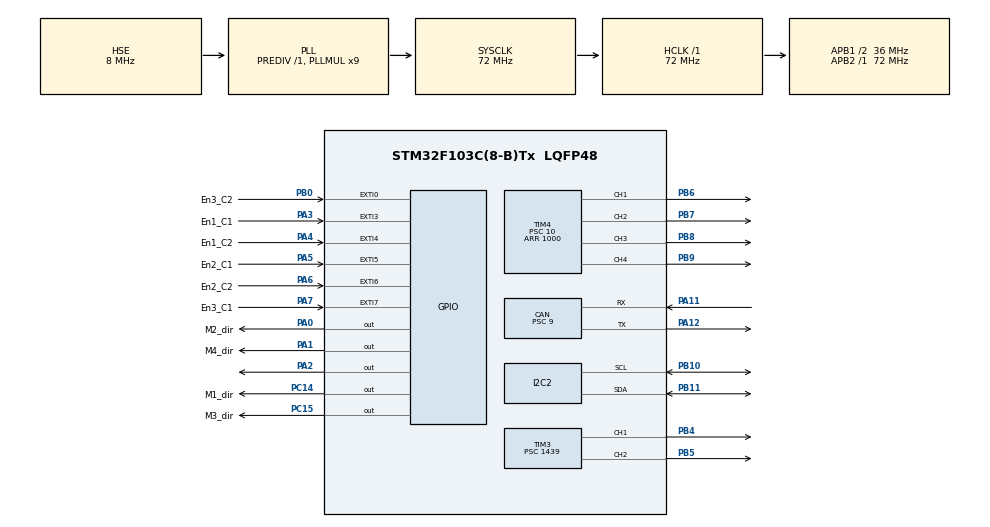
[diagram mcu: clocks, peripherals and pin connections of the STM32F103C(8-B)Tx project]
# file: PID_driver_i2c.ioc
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CAN.BS1=CAN_BS1_2TQ
CAN.CalculateBaudRate=1000000
CAN.CalculateTimeBit=1000
CAN.CalculateTimeQuantum=250.0
CAN.Prescaler=9
Mcu.Family=STM32F1
Mcu.Name=STM32F103C(8-B)Tx
Mcu.Package=LQFP48
NVIC.CAN1_RX1_IRQn=true\:0\:0\:false\:false\:true\:true\:true\:true
NVIC.EXTI0_IRQn=true\:0\:0\:false\:false\:true\:true\:true\:true
NVIC.EXTI3_IRQn=true\:0\:0\:false\:false\:true\:true\:true\:true
NVIC.EXTI4_IRQn=true\:0\:0\:false\:false\:true\:true\:true\:true
NVIC.EXTI9_5_IRQn=true\:0\:0\:false\:false\:true\:true\:true\:true
NVIC.PriorityGroup=NVIC_PRIORITYGROUP_4
NVIC.TIM2_IRQn=true\:0\:0\:false\:false\:true\:true\:true\:true
PA0-WKUP.GPIO_Label=M2_dir
PA0-WKUP.Signal=GPIO_Output
PA1.GPIO_Label=M4_dir
PA1.Signal=GPIO_Output
PA11.Mode=CAN_Activate
PA11.Signal=CAN_RX
PA12.Mode=CAN_Activate
PA12.Signal=CAN_TX
PA13.Mode=Serial_Wire
PA13.Signal=SYS_JTMS-SWDIO
PA14.Mode=Serial_Wire
PA14.Signal=SYS_JTCK-SWCLK
PA2.Signal=GPIO_Output
PA3.GPIO_Label=En1_C1
PA3.GPIO_ModeDefaultEXTI=GPIO_MODE_IT_RISING_FALLING
PA3.Signal=GPXTI3
PA4.GPIO_Label=En1_C2
PA4.GPIO_ModeDefaultEXTI=GPIO_MODE_IT_RISING_FALLING
PA4.Signal=GPXTI4
PA5.GPIO_Label=En2_C1
PA5.GPIO_ModeDefaultEXTI=GPIO_MODE_IT_RISING_FALLING
PA5.Signal=GPXTI5
PA6.GPIO_Label=En2_C2
PA6.GPIO_ModeDefaultEXTI=GPIO_MODE_IT_RISING_FALLING
PA6.Signal=GPXTI6
PA7.GPIO_Label=En3_C1
PA7.GPIO_ModeDefaultEXTI=GPIO_MODE_IT_RISING_FALLING
PA7.Signal=GPXTI7
PB0.GPIO_Label=En3_C2
PB0.GPIO_ModeDefaultEXTI=GPIO_MODE_IT_RISING_FALLING
PB0.Signal=GPXTI0
PB10.Mode=I2C
PB10.Signal=I2C2_SCL
PB11.Mode=I2C
PB11.Signal=I2C2_SDA
PB4.Signal=S_TIM3_CH1
PB5.Signal=S_TIM3_CH2
PB6.Signal=S_TIM4_CH1
PB7.Signal=S_TIM4_CH2
PB8.Signal=S_TIM4_CH3
PB9.Signal=S_TIM4_CH4
PC14-OSC32_IN.GPIO_Label=M1_dir
PC14-OSC32_IN.Signal=GPIO_Output
PC15-OSC32_OUT.GPIO_Label=M3_dir
PC15-OSC32_OUT.Signal=GPIO_Output
PD0-OSC_IN.Mode=HSE-External-Oscillator
PD0-OSC_IN.Signal=RCC_OSC_IN
PD1-OSC_OUT.Mode=HSE-External-Oscillator
PD1-OSC_OUT.Signal=RCC_OSC_OUT
ProjectManager.HeapSize=0x200
ProjectManager.StackSize=0x400
ProjectManager.TargetToolchain=STM32CubeIDE
RCC.AHBFreq_Value=72000000
RCC.APB1CLKDivider=RCC_HCLK_DIV2
RCC.APB1Freq_Value=36000000
RCC.APB1TimFreq_Value=72000000
RCC.APB2Freq_Value=72000000
RCC.APB2TimFreq_Value=72000000
RCC.HCLKFreq_Value=72000000
RCC.PLLMUL=RCC_PLL_MUL9
RCC.PLLSourceVirtual=RCC_PLLSOURCE_HSE
RCC.SYSCLKFreq_VALUE=72000000
RCC.SYSCLKSource=RCC_SYSCLKSOURCE_PLLCLK
RCC.USBFreq_Value=72000000
SH.S_TIM3_CH1.0=TIM3_CH1,PWM Generation1 CH1
SH.S_TIM3_CH2.0=TIM3_CH2,PWM Generation2 CH2
SH.S_TIM4_CH1.0=TIM4_CH1,PWM Generation1 CH1
SH.S_TIM4_CH2.0=TIM4_CH2,PWM Generation2 CH2
SH.S_TIM4_CH3.0=TIM4_CH3,PWM Generation3 CH3
SH.S_TIM4_CH4.0=TIM4_CH4,PWM Generation4 CH4
TIM1.AutoReloadPreload=TIM_AUTORELOAD_PRELOAD_ENABLE
TIM1.Period=1000
TIM1.Prescaler=10
TIM2.AutoReloadPreload=TIM_AUTORELOAD_PRELOAD_ENABLE
TIM2.Channel-PWM\ Generation1\ CH1=TIM_CHANNEL_1
TIM2.Channel-PWM\ Generation2\ CH2=TIM_CHANNEL_2
TIM2.Period=999
TIM2.Prescaler=719
TIM3.Channel-PWM\ Generation1\ CH1=TIM_CHANNEL_1
TIM3.Channel-PWM\ Generation2\ CH2=TIM_CHANNEL_2
TIM3.Period=999
TIM3.Prescaler=1439
TIM4.AutoReloadPreload=TIM_AUTORELOAD_PRELOAD_ENABLE
TIM4.Channel-PWM\ Generation1\ CH1=TIM_CHANNEL_1
TIM4.Channel-PWM\ Generation2\ CH2=TIM_CHANNEL_2
TIM4.Channel-PWM\ Generation3\ CH3=TIM_CHANNEL_3
TIM4.Channel-PWM\ Generation4\ CH4=TIM_CHANNEL_4
TIM4.Period=1000
TIM4.Prescaler=10
VP_TIM1_VS_ClockSourceINT.Mode=Internal
VP_TIM2_VS_ClockSourceINT.Mode=Internal
VP_TIM3_VS_ClockSourceINT.Mode=Internal
VP_TIM4_VS_ClockSourceINT.Mode=Internal
board=custom

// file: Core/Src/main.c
/* USER CODE BEGIN Header */
/**
  ******************************************************************************
  * @file           : main.c
  * @brief          : Main program body
  ******************************************************************************
  * @attention
  *
  * Copyright (c) 2023 STMicroelectronics.
  * All rights reserved.
  *
  * This software is licensed under terms that can be found in the LICENSE file
  * in the root directory of this software component.
  * If no LICENSE file comes with this software, it is provided AS-IS.
  *
  ******************************************************************************
  */
/* USER CODE END Header */
#include "main.h"
#include "can.h"
#include "i2c.h"
#include "tim.h"
#include "gpio.h"

/* USER CODE BEGIN Includes */
#include "PID.h"
#include "math.h"
#include "pca9685.h"
/* USER CODE END Includes */

/* USER CODE BEGIN PTD */
#define SERVO_COUNT	4
uint8_t data[4] = {0};
uint16_t data_16 = 0;
uint16_t data_r = 0;
uint16_t data_angle = 0;
float speed = 0;
float speed_r = 0;
/* USER CODE END PTD */

/* USER CODE BEGIN PD */
PIDController MPID;
#define MKp 1.14
#define MKi 25.59
#define MKd 0.0

// need to configuration
#define CPR 64
#define Sample_time 10 // ms

#define pi 3.1415
#define Motor1 0
#define Motor2 1
volatile uint8_t nowA[2];
volatile uint8_t nowB[2];
volatile uint8_t lastA[2];
volatile uint8_t lastB[2];
volatile uint8_t dir[2];
uint16_t cnt[2];
uint16_t Enc_count[2];

uint16_t count[2]; // count pulse from encoder
uint16_t new_count[2];
uint8_t count_state[2];
uint16_t diff[2]; // difference between count and new_count in a sample time

float speedM[2];
float rdps[2];

float Motor1_speed = 0;
float Motor2_speed = 0;
float V1 = 0; // target speed of motor1
float V2 = 0; // target speed of motor2
float pwm_M1 = 0;
float pwm_M2 = 0;
float pwm_r = 0;
int i =0;
int t = 0;
int r = 0;
//===== Limit switch =====
uint8_t data_limit;

//===== Pick up angle =====
int pick_data;
uint8_t degree =85;

// === Limit servo ====
uint8_t angle = 0;
int shooter_limit;

int j = 0;
int c = 0;

// === data of task complete ===
uint8_t pick = 0;
uint8_t fall = 0;
uint8_t stop_fall = 0;
uint8_t shoot = 0;
uint8_t store = 0;
uint8_t close = 0;
uint8_t open = 0;
uint8_t push = 0;
uint8_t control_fall = 0;

/* USER CODE END PD */

/* USER CODE BEGIN PM */
CAN_RxHeaderTypeDef RxHeader;
uint8_t RxData[8];
CAN_TxHeaderTypeDef TxHeader;
uint8_t TxData[3];
uint32_t TxMailbox;
uint8_t cntt;

float map(float Input, float Min_Input, float Max_Input, float Min_Output, float Max_Output)
{

	return (float)((Input - Min_Input) * (Max_Output - Min_Output) / (Max_Input - Min_Input) + Min_Output);
}

void HAL_CAN_RxFifo1MsgPendingCallback(CAN_HandleTypeDef *hcan)
{
	HAL_CAN_GetRxMessage(hcan, CAN_RX_FIFO1, &RxHeader, RxData);
	cntt++;
	while (cntt - 100 > 0)
	{
		HAL_GPIO_TogglePin(GPIOA, GPIO_PIN_2);
		cntt = 0;
	}
	if (RxHeader.DLC == 2 && RxHeader.StdId == 0x222)
	{
			data_16 = (RxData[0] << 8) | RxData[1];
			if(data_16 != 0)
			{
				shoot = 1;
			}
			else
			{
				shoot = 0;
			}
			speed = map(data_16,0,65535,0,1500);
	}

	if (RxHeader.DLC == 1 && RxHeader.StdId == 0x444)
	{
		data_limit = RxData[0];
	}
	if (RxHeader.DLC == 1 && RxHeader.StdId == 0x666)
	{
		if (RxData[0] == 1) // start to pick up
		{
			degree = 180;
			pick = 0;
			store = 0;
			push = 0;
		}
		if(RxData[0] == 0) // after pick up
		{
			degree = 85;

			push = 0;
			control_fall = 0;
		}

		else if(RxData[0] == 2) //start shoot
		{
			degree = 85;
			store = 1;
			pick = 1;
		}
		else if(RxData[0] == 3)
		{
			degree = 85;
			control_fall = 1;

		}
	}
}
void servo_rotation(uint8_t degree)
{
	float y = 0.556 * (float) degree + 25;
	uint8_t pwm = round(y);
	TIM3->CCR2 = pwm;
}

/* USER CODE END PM */

/* USER CODE BEGIN PV */
uint8_t ActiveServo;
void pick_up(int deg, int t)
{
	degree = deg;
	 if(degree >=0)
		  {

		  	while(i<degree)
		  	{
		  		servo_rotation(i);
		  		HAL_Delay(t);
		  		i = i + 1;

		  	}

		  	if(degree < 250)
		  	{
		  		while(i>degree)
		  		{
		  			servo_rotation(i);
		  			HAL_Delay(t);
		  			i = i - 1;
		  		}
		  	}
		  }

}

void ring_falling()
{
	PCA9685_SetServoAngle(4, 90);
	PCA9685_SetServoAngle(5, 90);
	fall = 0;
}
void ring_back()
{
	PCA9685_SetServoAngle(4, 180);
	PCA9685_SetServoAngle(5, 180);
}
void ring_stop_falling()
{
	PCA9685_SetPin(4, 4096, 0);
	PCA9685_SetPin(5, 4096, 0);
}
void open_pickup()
{
	PCA9685_SetServoAngle(0,0);
	PCA9685_SetServoAngle(1, 180);
	open = 1;
}
void close_pickup()
{
	PCA9685_SetServoAngle(0, 140);
	PCA9685_SetServoAngle(1, 40);
	open = 0;
}
void fall1_function()
{
	pick_up(92,10);
	HAL_Delay(200);
	open_pickup();
	HAL_Delay(400);
	ring_falling();
	HAL_Delay(600);
	ring_stop_falling();
	HAL_Delay(400);
//	pick_up(78,10);
//	HAL_Delay(200);
	close_pickup();
	HAL_Delay(400);
	ring_falling();
	HAL_Delay(1000);
	ring_stop_falling();
	pick_up(125,10);
}
void fall1_5_function()
{
	pick_up(95,10);
	HAL_Delay(200);
	open_pickup();
	HAL_Delay(400);
	ring_falling();
	HAL_Delay(400);
	ring_stop_falling();
	HAL_Delay(400);
//	pick_up(78,10);
//	HAL_Delay(200);
	close_pickup();
	HAL_Delay(400);
	ring_falling();
	HAL_Delay(1000);
	ring_stop_falling();
	pick_up(125,10);
}
void fall2_function()
{
	pick_up(95,10);
	HAL_Delay(200);
	open_pickup();
	HAL_Delay(600);
	ring_falling();
	HAL_Delay(1000);
	ring_stop_falling();
	HAL_Delay(700);
//	pick_up(78,10);
//	HAL_Delay(200);
	close_pickup();
	HAL_Delay(400);
	ring_falling();
	HAL_Delay(2000);
	ring_stop_falling();
	pick_up(125,12);

}
void fall2_5_function()
{
	pick_up(95,10);
	HAL_Delay(200);
	open_pickup();
	HAL_Delay(600);
	ring_falling();
	HAL_Delay(1700);
	ring_stop_falling();
	HAL_Delay(700);
//	pick_up(78,10);
//	HAL_Delay(200);
	close_pickup();
	HAL_Delay(400);
	ring_falling();
	HAL_Delay(2000);
	ring_stop_falling();
	pick_up(125,15);

}
void shooter1_function(float input_speed)
{
	pick_up(125,10);
	HAL_Delay(1200);
	speed = input_speed;
	HAL_Delay(700);
	data_r = 1;
	HAL_Delay(400);
	data_r = 0;
	HAL_Delay(500);
	speed = 0;
	shoot = 0;
	pick_up(90,10);

}
void shooter2_function(float input_speed)
{
		pick_up(125,10);
		HAL_Delay(1200);
		speed = input_speed;
		HAL_Delay(700);
		data_r = 1;
		HAL_Delay(400);
		data_r = 0;
		HAL_Delay(500);
		speed = 0;
		shoot = 0;
		pick_up(90,10);

}
void shooter2_5_function(float input_speed)
{
		pick_up(125,10);
		HAL_Delay(1200);
		speed = input_speed;
		HAL_Delay(700);
		data_r = 1;
		HAL_Delay(400);
		data_r = 0;
		HAL_Delay(500);
		speed = 0;
		shoot = 0;
		pick_up(90,10);

}
/* USER CODE END PV */

void SystemClock_Config(void);
/* USER CODE BEGIN PFP */
uint16_t encoder(int i)
{
	if (nowA[i] != lastA[i])
	{
		lastA[i] = nowA[i];
		if (lastA[i] == 0)
		{
			if (nowB[i] == 0)
			{
				dir[i] = 0;
				cnt[i]--;
			}
			else
			{
				dir[i] = 1;
				cnt[i]++;
			}
		}
		else
		{
			if (nowB[i] == 1)
			{
				dir[i] = 0;
				cnt[i]--;
			}
			else
			{
				dir[i] = 1;
				cnt[i]++;
			}
		}
	}
	if (nowB[i] != lastB[i])
	{
		lastB[i] = nowB[i];
		if (lastB[i] == 0)
		{
			if (nowA[i] == 1)
			{
				dir[i] = 0;
				cnt[i]--;
			}
			else
			{
				dir[i] = 1;
				cnt[i]++;
			}
		}
		else
		{
			if (nowA[i] == 0)
			{
				dir[i] = 0;
				cnt[i]--;
			}
			else
			{
				dir[i] = 1;
				cnt[i]++;
			}
		}
	}
	return cnt[i];
}
float Motors_RPS(int j, float SampleTime, float N_round)
{
	new_count[Motor1] = Enc_count[0];
	new_count[Motor2] = Enc_count[1];

	count_state[Motor1] = !dir[0];
	count_state[Motor2] = !dir[1];

	if (count_state[j])
	{
		if (new_count[j] <= count[j])
		{ // Check for counter underflow
			diff[j] = count[j] - new_count[j];
		}
		else
		{
			diff[j] = (65536 - new_count[j]) + count[j];
		}
		speedM[j] = (float)diff[j] * 1000.0f / (N_round * SampleTime) * -1.0;
	}
	else
	{
		if (new_count[j] >= count[j])
		{ // Check for counter overflow
			diff[j] = new_count[j] - count[j];
		}
		else
		{
			diff[j] = (65536 - count[j]) + new_count[j];
		}
		speedM[j] = (float)diff[j] * 1000.0f / (N_round * SampleTime);
	}

	rdps[j] = -2.0f * pi * speedM[j];
	count[j] = new_count[j];

	return rdps[j];
}

/* USER CODE END PFP */

int main(void)
{

  /* MCU Configuration--------------------------------------------------------*/

  /* Reset of all peripherals, Initializes the Flash interface and the Systick. */
  HAL_Init();

  /* USER CODE BEGIN Init */
	PID_Init(&MPID, 2);
	MPID.T = 0.01; // T = 20ms
	MPID.limMax = 1000;
	MPID.limMin = -10;
	MPID.limMaxInt = 1000;
	MPID.limMinInt = -10;
	MPID.tau = 0; // for K

  /* USER CODE END Init */

  /* Configure the system clock */
  SystemClock_Config();

  /* Initialize all configured peripherals */
  MX_GPIO_Init();
  MX_TIM2_Init();
  MX_TIM4_Init();
  MX_CAN_Init();
  MX_TIM3_Init();
  MX_I2C2_Init();
  MX_TIM1_Init();
  /* USER CODE BEGIN 2 */
  HAL_TIM_Base_Start_IT(&htim2);
  // TIMER INTERUPT
  HAL_TIM_PWM_Start(&htim4, TIM_CHANNEL_1);				// M1
  HAL_TIM_PWM_Start(&htim4, TIM_CHANNEL_2);				// M2
  HAL_TIM_PWM_Start(&htim4, TIM_CHANNEL_3);				// M1
  HAL_TIM_PWM_Start(&htim4, TIM_CHANNEL_4);
  HAL_TIM_PWM_Start(&htim3, TIM_CHANNEL_1);				// Servo limit
  HAL_TIM_PWM_Start(&htim3, TIM_CHANNEL_2);				// Servo pickup

	HAL_CAN_Start(&hcan);

	// Activate the notification
	HAL_CAN_ActivateNotification(&hcan, CAN_IT_RX_FIFO1_MSG_PENDING);

	PCA9685_Init(&hi2c2);
	PCA9685_SetServoAngle(0, 140);
	PCA9685_SetServoAngle(1, 40);
	PCA9685_SetPin(4, 4096, 0);
	PCA9685_SetPin(5, 4096, 0);

  /* USER CODE END 2 */

  /* Infinite loop */
  while (1)
  {

    /* USER CODE BEGIN 3 */
	  pick_up(degree,10);
	  if(HAL_GetTick() < 5000){
		  HAL_GPIO_TogglePin(GPIOA, GPIO_PIN_2);
		  HAL_Delay(100);
	  }
	  if(pick == 1 && push == 0)
	  {
		  if(c<5)
		  {
			  fall1_function();
		  }
		  else if (c>=3 && c<7)
		  {
			  fall1_function();
		  }
		  else if(c>=7&&c<9){
			  fall2_function();
		  }
		else if(c>=8)
			{
				fall2_5_function();
				if(c ==10)
				{
					c = 0;
				}
			}
		  c = c+1;
		  pick = 0;
	  }
	  if(shoot == 1){
		  if(c<5)
		  {
			  shooter1_function(speed);
		  }
		  else if(c>=5){
		  		shooter2_function(speed);
		  		if(c == 10)
		  		{
		  			c = 0;
		  		}
		  	}

	  }
	  if(control_fall == 1)
	  {
		  ring_falling();
	  }
	  else if(control_fall == 0)
	  {
		  ring_stop_falling();
	  }

  }
  /* USER CODE END 3 */
}

void SystemClock_Config(void)
{
  RCC_OscInitTypeDef RCC_OscInitStruct = {0};
  RCC_ClkInitTypeDef RCC_ClkInitStruct = {0};

  /** Initializes the RCC Oscillators according to the specified parameters
  * in the RCC_OscInitTypeDef structure.
  */
  RCC_OscInitStruct.OscillatorType = RCC_OSCILLATORTYPE_HSE;
  RCC_OscInitStruct.HSEState = RCC_HSE_ON;
  RCC_OscInitStruct.HSEPredivValue = RCC_HSE_PREDIV_DIV1;
  RCC_OscInitStruct.HSIState = RCC_HSI_ON;
  RCC_OscInitStruct.PLL.PLLState = RCC_PLL_ON;
  RCC_OscInitStruct.PLL.PLLSource = RCC_PLLSOURCE_HSE;
  RCC_OscInitStruct.PLL.PLLMUL = RCC_PLL_MUL9;
  if (HAL_RCC_OscConfig(&RCC_OscInitStruct) != HAL_OK)
  {
    Error_Handler();
  }

  /** Initializes the CPU, AHB and APB buses clocks
  */
  RCC_ClkInitStruct.ClockType = RCC_CLOCKTYPE_HCLK|RCC_CLOCKTYPE_SYSCLK
                              |RCC_CLOCKTYPE_PCLK1|RCC_CLOCKTYPE_PCLK2;
  RCC_ClkInitStruct.SYSCLKSource = RCC_SYSCLKSOURCE_PLLCLK;
  RCC_ClkInitStruct.AHBCLKDivider = RCC_SYSCLK_DIV1;
  RCC_ClkInitStruct.APB1CLKDivider = RCC_HCLK_DIV2;
  RCC_ClkInitStruct.APB2CLKDivider = RCC_HCLK_DIV1;

  if (HAL_RCC_ClockConfig(&RCC_ClkInitStruct, FLASH_LATENCY_2) != HAL_OK)
  {
    Error_Handler();
  }
}

/* USER CODE BEGIN 4 */
void HAL_GPIO_EXTI_Callback(uint16_t GPIO_Pin)
{
	if (GPIO_Pin == En1_C1_Pin || En1_C2_Pin)
	{ // ENCODER Motor 1
		nowA[0] = HAL_GPIO_ReadPin(En1_C1_GPIO_Port, En1_C1_Pin);
		nowB[0] = HAL_GPIO_ReadPin(En1_C2_GPIO_Port, En1_C2_Pin);
		Enc_count[0] = encoder(0);
	}
	if (GPIO_Pin == En2_C1_Pin || En2_C2_Pin)
	{ // ENCODER Motor 2
		nowA[1] = HAL_GPIO_ReadPin(En2_C1_GPIO_Port, En2_C1_Pin);
		nowB[1] = HAL_GPIO_ReadPin(En2_C2_GPIO_Port, En2_C2_Pin);
		Enc_count[1] = encoder(1);
	}
}
void HAL_TIM_PeriodElapsedCallback(TIM_HandleTypeDef *htim){
	if (htim->Instance == TIM2){
		// PID // need to change for using
		pwm_M1 = PID(&MPID, speed, Motor1_speed, MKp, MKi, MKd, Motor1);
		pwm_M2 = PID(&MPID, speed, Motor2_speed, MKp, MKi, MKd, Motor2);
		// feedback speed
//		pwm_M1 = speed;
//		pwm_M2 = speed;
		Motor1_speed = (float)fabs(Motors_RPS(Motor1, Sample_time, CPR));
		Motor2_speed = (float)fabs(Motors_RPS(Motor2, Sample_time, CPR));
		pwm_r = speed_r;

		if(data_r == 1 && data_limit == 0)
		{
			HAL_GPIO_WritePin(M1_dir_GPIO_Port, M1_dir_Pin, 1);
			pwm_r =450;
			TIM4->CCR1 = pwm_r;

		}
		else if(data_r == 1 && data_limit == 1)
		{
			HAL_GPIO_WritePin(M1_dir_GPIO_Port, M1_dir_Pin, 0);
			pwm_r = 0;
			TIM4->CCR1 = pwm_r;
		}
		else if(data_r == 0 && data_limit == 1)
		{
			HAL_GPIO_WritePin(M1_dir_GPIO_Port, M1_dir_Pin, 0);
			pwm_r = 450;
			TIM4->CCR1 = pwm_r;

		}
		else
		{
			HAL_GPIO_WritePin(M1_dir_GPIO_Port, M1_dir_Pin, 1);
			pwm_r = 0;
			TIM4->CCR1 = pwm_r;
		}

		// dir
		HAL_GPIO_WritePin(M2_dir_GPIO_Port, M2_dir_Pin, 0); // M2
		HAL_GPIO_WritePin(M3_dir_GPIO_Port, M3_dir_Pin, 0); // M1

		if (pwm_M1 > 20)
		{
			TIM4->CCR2 = pwm_M1;
		}
		else
		{
			TIM4->CCR2 = 0;
		}

		if (pwm_M2 > 20)
		{
			TIM4->CCR3 = pwm_M2;
		}
		else
		{
			TIM4->CCR3 = 0;
		}

	}
}
/* USER CODE END 4 */

void Error_Handler(void)
{
  __disable_irq();
  while (1)
  {
  }
}
